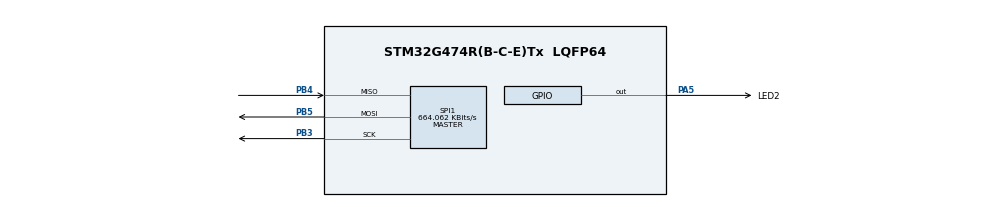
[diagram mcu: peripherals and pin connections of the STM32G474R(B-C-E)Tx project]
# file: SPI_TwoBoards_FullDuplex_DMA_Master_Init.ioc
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Dma.Request0=SPI1_TX
Dma.Request1=SPI1_RX
Dma.SPI1_RX.1.Direction=DMA_PERIPH_TO_MEMORY
Dma.SPI1_RX.1.EventEnable=DISABLE
Dma.SPI1_RX.1.Instance=DMA1_Channel1
Dma.SPI1_RX.1.MemDataAlignment=DMA_MDATAALIGN_BYTE
Dma.SPI1_RX.1.MemInc=DMA_MINC_ENABLE
Dma.SPI1_RX.1.Mode=DMA_NORMAL
Dma.SPI1_RX.1.PeriphDataAlignment=DMA_PDATAALIGN_BYTE
Dma.SPI1_RX.1.PeriphInc=DMA_PINC_DISABLE
Dma.SPI1_RX.1.Polarity=HAL_DMAMUX_REQ_GEN_RISING
Dma.SPI1_RX.1.Priority=DMA_PRIORITY_LOW
Dma.SPI1_RX.1.RequestNumber=1
Dma.SPI1_RX.1.SignalID=HAL_DMAMUX1_REQ_GEN_EXTI4
Dma.SPI1_RX.1.SyncEnable=DISABLE
Dma.SPI1_RX.1.SyncPolarity=HAL_DMAMUX_SYNC_NO_EVENT
Dma.SPI1_RX.1.SyncRequestNumber=1
Dma.SPI1_RX.1.SyncSignalID=HAL_DMAMUX1_SYNC_EXTI4
Dma.SPI1_TX.0.Direction=DMA_MEMORY_TO_PERIPH
Dma.SPI1_TX.0.EventEnable=DISABLE
Dma.SPI1_TX.0.Instance=DMA1_Channel3
Dma.SPI1_TX.0.MemDataAlignment=DMA_MDATAALIGN_BYTE
Dma.SPI1_TX.0.MemInc=DMA_MINC_ENABLE
Dma.SPI1_TX.0.Mode=DMA_NORMAL
Dma.SPI1_TX.0.PeriphDataAlignment=DMA_PDATAALIGN_BYTE
Dma.SPI1_TX.0.PeriphInc=DMA_PINC_DISABLE
Dma.SPI1_TX.0.Polarity=HAL_DMAMUX_REQ_GEN_RISING
Dma.SPI1_TX.0.Priority=DMA_PRIORITY_LOW
Dma.SPI1_TX.0.RequestNumber=1
Dma.SPI1_TX.0.SignalID=HAL_DMAMUX1_REQ_GEN_EXTI4
Dma.SPI1_TX.0.SyncEnable=DISABLE
Dma.SPI1_TX.0.SyncPolarity=HAL_DMAMUX_SYNC_NO_EVENT
Dma.SPI1_TX.0.SyncRequestNumber=1
Dma.SPI1_TX.0.SyncSignalID=HAL_DMAMUX1_SYNC_EXTI4
Mcu.Family=STM32G4
Mcu.Name=STM32G474R(B-C-E)Tx
Mcu.Package=LQFP64
NVIC.DMA1_Channel1_IRQn=true\:0\:0\:false\:false\:false\:false\:true\:true
NVIC.DMA1_Channel3_IRQn=true\:0\:0\:false\:false\:false\:false\:true\:true
NVIC.PriorityGroup=NVIC_PRIORITYGROUP_4
PA5.GPIO_Label=LED2
PA5.Signal=GPIO_Output
PB3.GPIO_PuPd=GPIO_PULLDOWN
PB3.GPIO_Speed=GPIO_SPEED_FREQ_HIGH
PB3.Mode=Full_Duplex_Master
PB3.Signal=SPI1_SCK
PB4.GPIO_Speed=GPIO_SPEED_FREQ_LOW
PB4.Mode=Full_Duplex_Master
PB4.Signal=SPI1_MISO
PB5.GPIO_PuPd=GPIO_PULLDOWN
PB5.GPIO_Speed=GPIO_SPEED_FREQ_HIGH
PB5.Mode=Full_Duplex_Master
PB5.Signal=SPI1_MOSI
ProjectManager.HeapSize=0x200
ProjectManager.StackSize=0x400
ProjectManager.TargetToolchain=EWARM V8.32
RCC.ADC12Freq_Value=170000000
RCC.ADC345Freq_Value=170000000
RCC.AHBFreq_Value=170000000
RCC.APB1Freq_Value=170000000
RCC.APB1TimFreq_Value=170000000
RCC.APB2Freq_Value=170000000
RCC.APB2TimFreq_Value=170000000
RCC.CortexFreq_Value=170000000
RCC.EXTERNAL_CLOCK_VALUE=12288000
RCC.HCLKFreq_Value=170000000
RCC.HSE_VALUE=24000000
RCC.HSI48_VALUE=48000000
RCC.HSI_VALUE=16000000
RCC.LSE_VALUE=32768
RCC.PLLM=RCC_PLLM_DIV4
RCC.PLLN=85
RCC.SYSCLKFreq_VALUE=170000000
RCC.SYSCLKSource=RCC_SYSCLKSOURCE_PLLCLK
RCC.USBFreq_Value=170000000
RCC.VCOOutputFreq_Value=340000000
SPI1.BaudRatePrescaler=SPI_BAUDRATEPRESCALER_256
SPI1.CLKPhase=SPI_PHASE_2EDGE
SPI1.CLKPolarity=SPI_POLARITY_HIGH
SPI1.CRCCalculation=SPI_CRCCALCULATION_DISABLE
SPI1.CalculateBaudRate=664.062 KBits/s
SPI1.DataSize=SPI_DATASIZE_8BIT
SPI1.Direction=SPI_DIRECTION_2LINES
SPI1.FirstBit=SPI_FIRSTBIT_MSB
SPI1.Mode=SPI_MODE_MASTER
SPI1.NSS=SPI_NSS_SOFT
SPI1.TIMode=SPI_TIMODE_DISABLE
SPI1.VirtualType=VM_MASTER
VP_SYS_VS_DBSignals.Mode=DisableDeadBatterySignals
board=custom

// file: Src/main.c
/* USER CODE BEGIN Header */
/**
  ******************************************************************************
  * @file    Examples_LL/SPI/SPI_TwoBoards_FullDuplex_DMA_Master_Init/Src/main.c
  * @author  MCD Application Team
  * @brief   This example describes how to send/receive bytes over SPI IP using
  *          the STM32G4xx SPI LL API.
  *          Peripheral initialization done using LL unitary services functions.
  ******************************************************************************
  * @attention
  *
  * Copyright (c) 2019 STMicroelectronics.
  * All rights reserved.
  *
  * This software is licensed under terms that can be found in the LICENSE file
  * in the root directory of this software component.
  * If no LICENSE file comes with this software, it is provided AS-IS.
  *
  ******************************************************************************
  */
/* USER CODE END Header */
#include "main.h"

/* USER CODE BEGIN PV */

__IO uint8_t ubButtonPress = 0;

/* Buffer used for transmission */
uint8_t aTxBuffer[] = "**** SPI_TwoBoards_FullDuplex_DMA communication **** SPI_TwoBoards_FullDuplex_DMA communication **** SPI_TwoBoards_FullDuplex_DMA communication ****";
uint8_t ubNbDataToTransmit = sizeof(aTxBuffer);
__IO uint8_t ubTransmissionComplete = 0;

/* Buffer used for reception */
uint8_t aRxBuffer[sizeof(aTxBuffer)];
uint8_t ubNbDataToReceive  = sizeof(aTxBuffer);
__IO uint8_t ubReceptionComplete = 0;

/* USER CODE END PV */

void SystemClock_Config(void);
static void MX_GPIO_Init(void);
static void MX_DMA_Init(void);
static void MX_SPI1_Init(void);
/* USER CODE BEGIN PFP */

void     SystemClock_Config(void);
void     Activate_SPI(void);
void     LED_On(void);
void     LED_Blinking(uint32_t Period);
void     LED_Off(void);
void     UserButton_Init(void);
void     WaitForUserButtonPress(void);
void     WaitAndCheckEndOfTransfer(void);
uint8_t  Buffercmp8(uint8_t *pBuffer1, uint8_t *pBuffer2, uint8_t BufferLength);

/* USER CODE END PFP */

int main(void)
{

  /* MCU Configuration--------------------------------------------------------*/

  /* Reset of all peripherals, Initializes the Flash interface and the Systick. */

  LL_APB2_GRP1_EnableClock(LL_APB2_GRP1_PERIPH_SYSCFG);
  LL_APB1_GRP1_EnableClock(LL_APB1_GRP1_PERIPH_PWR);

  NVIC_SetPriorityGrouping(NVIC_PRIORITYGROUP_4);

  /* System interrupt init*/

  /** Disable the internal Pull-Up in Dead Battery pins of UCPD peripheral
  */
  LL_PWR_DisableUCPDDeadBattery();

  /* Configure the system clock */
  SystemClock_Config();

  /* Initialize all configured peripherals */
  MX_GPIO_Init();
  MX_DMA_Init();
  MX_SPI1_Init();
  /* USER CODE BEGIN 2 */
  UserButton_Init();
  /* Configure the DMA1_Channel3 functional parameters */
  LL_DMA_ConfigTransfer(DMA1,
                        LL_DMA_CHANNEL_3,
                        LL_DMA_DIRECTION_MEMORY_TO_PERIPH | LL_DMA_PRIORITY_HIGH | LL_DMA_MODE_NORMAL |
                        LL_DMA_PERIPH_NOINCREMENT | LL_DMA_MEMORY_INCREMENT |
                        LL_DMA_PDATAALIGN_BYTE | LL_DMA_MDATAALIGN_BYTE);
  LL_DMA_ConfigAddresses(DMA1,
                         LL_DMA_CHANNEL_3,
                         (uint32_t)aTxBuffer, LL_SPI_DMA_GetRegAddr(SPI1),
                         LL_DMA_GetDataTransferDirection(DMA1, LL_DMA_CHANNEL_3));
  LL_DMA_SetDataLength(DMA1, LL_DMA_CHANNEL_3, ubNbDataToTransmit);

  LL_DMA_SetPeriphRequest(DMA1, LL_DMA_CHANNEL_3, LL_DMAMUX_REQ_SPI1_TX);

  /* Configure the DMA1_Channel1 functional parameters */
  LL_DMA_ConfigTransfer(DMA1,
                        LL_DMA_CHANNEL_1,
                        LL_DMA_DIRECTION_PERIPH_TO_MEMORY | LL_DMA_PRIORITY_HIGH | LL_DMA_MODE_NORMAL |
                        LL_DMA_PERIPH_NOINCREMENT | LL_DMA_MEMORY_INCREMENT |
                        LL_DMA_PDATAALIGN_BYTE | LL_DMA_MDATAALIGN_BYTE);
  LL_DMA_ConfigAddresses(DMA1, LL_DMA_CHANNEL_1, LL_SPI_DMA_GetRegAddr(SPI1), (uint32_t)aRxBuffer,
                         LL_DMA_GetDataTransferDirection(DMA1, LL_DMA_CHANNEL_1));
  LL_DMA_SetDataLength(DMA1, LL_DMA_CHANNEL_1, ubNbDataToReceive);
  LL_DMA_SetPeriphRequest(DMA1, LL_DMA_CHANNEL_1, LL_DMAMUX_REQ_SPI1_RX);

  /* Enable DMA interrupts complete/error */
  LL_DMA_EnableIT_TC(DMA1, LL_DMA_CHANNEL_3);
  LL_DMA_EnableIT_TE(DMA1, LL_DMA_CHANNEL_3);
  LL_DMA_EnableIT_TC(DMA1, LL_DMA_CHANNEL_1);
  LL_DMA_EnableIT_TE(DMA1, LL_DMA_CHANNEL_1);

  /* Initialize FFIFO Threshold */
  LL_SPI_SetRxFIFOThreshold(SPI1, LL_SPI_RX_FIFO_TH_QUARTER);

  /* Configure SPI1 DMA transfer interrupts */
  /* Enable DMA TX Interrupt */
  LL_SPI_EnableDMAReq_TX(SPI1);

  /* Configure SPI1 DMA transfer interrupts */
  /* Enable DMA RX Interrupt */
  LL_SPI_EnableDMAReq_RX(SPI1);

  /* Wait for User push-button press to start transfer */
  WaitForUserButtonPress();

  /* Enable the SPI1 peripheral */
  Activate_SPI();

  /* Wait for the end of the transfer and check received data */
  /* LED blinking FAST during waiting time */
  WaitAndCheckEndOfTransfer();
  /* USER CODE END 2 */

  /* Infinite loop */
  while (1)
  {

  }
}

void SystemClock_Config(void)
{
  LL_FLASH_SetLatency(LL_FLASH_LATENCY_4);
  while(LL_FLASH_GetLatency() != LL_FLASH_LATENCY_4)
  {
  }
  LL_PWR_EnableRange1BoostMode();
  LL_RCC_HSI_Enable();
   /* Wait till HSI is ready */
  while(LL_RCC_HSI_IsReady() != 1)
  {
  }

  LL_RCC_HSI_SetCalibTrimming(64);
  LL_RCC_PLL_ConfigDomain_SYS(LL_RCC_PLLSOURCE_HSI, LL_RCC_PLLM_DIV_4, 85, LL_RCC_PLLR_DIV_2);
  LL_RCC_PLL_EnableDomain_SYS();
  LL_RCC_PLL_Enable();
   /* Wait till PLL is ready */
  while(LL_RCC_PLL_IsReady() != 1)
  {
  }

  LL_RCC_SetSysClkSource(LL_RCC_SYS_CLKSOURCE_PLL);
  LL_RCC_SetAHBPrescaler(LL_RCC_SYSCLK_DIV_2);
   /* Wait till System clock is ready */
  while(LL_RCC_GetSysClkSource() != LL_RCC_SYS_CLKSOURCE_STATUS_PLL)
  {
  }

  /* Insure 1µs transition state at intermediate medium speed clock based on DWT */
  CoreDebug->DEMCR |= CoreDebug_DEMCR_TRCENA_Msk;
  DWT->CTRL |= DWT_CTRL_CYCCNTENA_Msk;
  DWT->CYCCNT = 0;
  while(DWT->CYCCNT < 100);
  /* Set AHB prescaler*/
  LL_RCC_SetAHBPrescaler(LL_RCC_SYSCLK_DIV_1);
  LL_RCC_SetAPB1Prescaler(LL_RCC_APB1_DIV_1);
  LL_RCC_SetAPB2Prescaler(LL_RCC_APB2_DIV_1);

  LL_Init1msTick(170000000);

  LL_SetSystemCoreClock(170000000);
}

static void MX_SPI1_Init(void)
{

  LL_SPI_InitTypeDef SPI_InitStruct = {0};

  LL_GPIO_InitTypeDef GPIO_InitStruct = {0};

  /* Peripheral clock enable */
  LL_APB2_GRP1_EnableClock(LL_APB2_GRP1_PERIPH_SPI1);

  LL_AHB2_GRP1_EnableClock(LL_AHB2_GRP1_PERIPH_GPIOB);
  /**SPI1 GPIO Configuration
  PB3   ------> SPI1_SCK
  PB4   ------> SPI1_MISO
  PB5   ------> SPI1_MOSI
  */
  GPIO_InitStruct.Pin = LL_GPIO_PIN_3;
  GPIO_InitStruct.Mode = LL_GPIO_MODE_ALTERNATE;
  GPIO_InitStruct.Speed = LL_GPIO_SPEED_FREQ_HIGH;
  GPIO_InitStruct.OutputType = LL_GPIO_OUTPUT_PUSHPULL;
  GPIO_InitStruct.Pull = LL_GPIO_PULL_DOWN;
  GPIO_InitStruct.Alternate = LL_GPIO_AF_5;
  LL_GPIO_Init(GPIOB, &GPIO_InitStruct);

  GPIO_InitStruct.Pin = LL_GPIO_PIN_4;
  GPIO_InitStruct.Mode = LL_GPIO_MODE_ALTERNATE;
  GPIO_InitStruct.Speed = LL_GPIO_SPEED_FREQ_LOW;
  GPIO_InitStruct.OutputType = LL_GPIO_OUTPUT_PUSHPULL;
  GPIO_InitStruct.Pull = LL_GPIO_PULL_NO;
  GPIO_InitStruct.Alternate = LL_GPIO_AF_5;
  LL_GPIO_Init(GPIOB, &GPIO_InitStruct);

  GPIO_InitStruct.Pin = LL_GPIO_PIN_5;
  GPIO_InitStruct.Mode = LL_GPIO_MODE_ALTERNATE;
  GPIO_InitStruct.Speed = LL_GPIO_SPEED_FREQ_HIGH;
  GPIO_InitStruct.OutputType = LL_GPIO_OUTPUT_PUSHPULL;
  GPIO_InitStruct.Pull = LL_GPIO_PULL_DOWN;
  GPIO_InitStruct.Alternate = LL_GPIO_AF_5;
  LL_GPIO_Init(GPIOB, &GPIO_InitStruct);

  /* SPI1 DMA Init */

  /* SPI1_TX Init */
  LL_DMA_SetPeriphRequest(DMA1, LL_DMA_CHANNEL_3, LL_DMAMUX_REQ_SPI1_TX);

  LL_DMA_SetDataTransferDirection(DMA1, LL_DMA_CHANNEL_3, LL_DMA_DIRECTION_MEMORY_TO_PERIPH);

  LL_DMA_SetChannelPriorityLevel(DMA1, LL_DMA_CHANNEL_3, LL_DMA_PRIORITY_LOW);

  LL_DMA_SetMode(DMA1, LL_DMA_CHANNEL_3, LL_DMA_MODE_NORMAL);

  LL_DMA_SetPeriphIncMode(DMA1, LL_DMA_CHANNEL_3, LL_DMA_PERIPH_NOINCREMENT);

  LL_DMA_SetMemoryIncMode(DMA1, LL_DMA_CHANNEL_3, LL_DMA_MEMORY_INCREMENT);

  LL_DMA_SetPeriphSize(DMA1, LL_DMA_CHANNEL_3, LL_DMA_PDATAALIGN_BYTE);

  LL_DMA_SetMemorySize(DMA1, LL_DMA_CHANNEL_3, LL_DMA_MDATAALIGN_BYTE);

  /* SPI1_RX Init */
  LL_DMA_SetPeriphRequest(DMA1, LL_DMA_CHANNEL_1, LL_DMAMUX_REQ_SPI1_RX);

  LL_DMA_SetDataTransferDirection(DMA1, LL_DMA_CHANNEL_1, LL_DMA_DIRECTION_PERIPH_TO_MEMORY);

  LL_DMA_SetChannelPriorityLevel(DMA1, LL_DMA_CHANNEL_1, LL_DMA_PRIORITY_LOW);

  LL_DMA_SetMode(DMA1, LL_DMA_CHANNEL_1, LL_DMA_MODE_NORMAL);

  LL_DMA_SetPeriphIncMode(DMA1, LL_DMA_CHANNEL_1, LL_DMA_PERIPH_NOINCREMENT);

  LL_DMA_SetMemoryIncMode(DMA1, LL_DMA_CHANNEL_1, LL_DMA_MEMORY_INCREMENT);

  LL_DMA_SetPeriphSize(DMA1, LL_DMA_CHANNEL_1, LL_DMA_PDATAALIGN_BYTE);

  LL_DMA_SetMemorySize(DMA1, LL_DMA_CHANNEL_1, LL_DMA_MDATAALIGN_BYTE);

  /* SPI1 parameter configuration*/
  SPI_InitStruct.TransferDirection = LL_SPI_FULL_DUPLEX;
  SPI_InitStruct.Mode = LL_SPI_MODE_MASTER;
  SPI_InitStruct.DataWidth = LL_SPI_DATAWIDTH_8BIT;
  SPI_InitStruct.ClockPolarity = LL_SPI_POLARITY_HIGH;
  SPI_InitStruct.ClockPhase = LL_SPI_PHASE_2EDGE;
  SPI_InitStruct.NSS = LL_SPI_NSS_SOFT;
  SPI_InitStruct.BaudRate = LL_SPI_BAUDRATEPRESCALER_DIV256;
  SPI_InitStruct.BitOrder = LL_SPI_MSB_FIRST;
  SPI_InitStruct.CRCCalculation = LL_SPI_CRCCALCULATION_DISABLE;
  SPI_InitStruct.CRCPoly = 7;
  LL_SPI_Init(SPI1, &SPI_InitStruct);
  LL_SPI_SetStandard(SPI1, LL_SPI_PROTOCOL_MOTOROLA);
  LL_SPI_DisableNSSPulseMgt(SPI1);

}

static void MX_DMA_Init(void)
{

  /* Init with LL driver */
  /* DMA controller clock enable */
  LL_AHB1_GRP1_EnableClock(LL_AHB1_GRP1_PERIPH_DMAMUX1);
  LL_AHB1_GRP1_EnableClock(LL_AHB1_GRP1_PERIPH_DMA1);

  /* DMA interrupt init */
  /* DMA1_Channel1_IRQn interrupt configuration */
  NVIC_SetPriority(DMA1_Channel1_IRQn, NVIC_EncodePriority(NVIC_GetPriorityGrouping(),0, 0));
  NVIC_EnableIRQ(DMA1_Channel1_IRQn);
  /* DMA1_Channel3_IRQn interrupt configuration */
  NVIC_SetPriority(DMA1_Channel3_IRQn, NVIC_EncodePriority(NVIC_GetPriorityGrouping(),0, 0));
  NVIC_EnableIRQ(DMA1_Channel3_IRQn);

}

static void MX_GPIO_Init(void)
{
  LL_GPIO_InitTypeDef GPIO_InitStruct = {0};

  /* GPIO Ports Clock Enable */
  LL_AHB2_GRP1_EnableClock(LL_AHB2_GRP1_PERIPH_GPIOA);
  LL_AHB2_GRP1_EnableClock(LL_AHB2_GRP1_PERIPH_GPIOB);

  /**/
  LL_GPIO_ResetOutputPin(LED2_GPIO_Port, LED2_Pin);

  /**/
  GPIO_InitStruct.Pin = LED2_Pin;
  GPIO_InitStruct.Mode = LL_GPIO_MODE_OUTPUT;
  GPIO_InitStruct.Speed = LL_GPIO_SPEED_FREQ_LOW;
  GPIO_InitStruct.OutputType = LL_GPIO_OUTPUT_PUSHPULL;
  GPIO_InitStruct.Pull = LL_GPIO_PULL_NO;
  LL_GPIO_Init(LED2_GPIO_Port, &GPIO_InitStruct);

}

/* USER CODE BEGIN 4 */

/**
  * @brief  This function Activate SPI1
  * @param  None
  * @retval None
  */
void Activate_SPI(void)
{
  /* Enable SPI1 */
  LL_SPI_Enable(SPI1);

  /* Enable DMA Channels */
  LL_DMA_EnableChannel(DMA1, LL_DMA_CHANNEL_3);
  LL_DMA_EnableChannel(DMA1, LL_DMA_CHANNEL_1);
}

/**
  * @brief  Turn-on LED2.
  * @param  None
  * @retval None
  */
void LED_On(void)
{
  /* Turn LED2 on */
  LL_GPIO_SetOutputPin(LED2_GPIO_PORT, LED2_PIN);
}

/**
  * @brief  Turn-off LED2.
  * @param  None
  * @retval None
  */
void LED_Off(void)
{
  /* Turn LED2 off */
  LL_GPIO_ResetOutputPin(LED2_GPIO_PORT, LED2_PIN);
}

/**
  * @brief  Set LED2 to Blinking mode for an infinite loop (toggle period based on value provided as input parameter).
  * @param  Period : Period of time (in ms) between each toggling of LED
  *   This parameter can be user defined values. Pre-defined values used in that example are :
  *     @arg LED_BLINK_FAST : Fast Blinking
  *     @arg LED_BLINK_SLOW : Slow Blinking
  *     @arg LED_BLINK_ERROR : Error specific Blinking
  * @retval None
  */
void LED_Blinking(uint32_t Period)
{
  /* Toggle LED2 in an infinite loop */
  while (1)
  {
    LL_GPIO_TogglePin(LED2_GPIO_PORT, LED2_PIN);
    LL_mDelay(Period);
  }
}

/**
  * @brief  Configures User push-button in GPIO or EXTI Line Mode.
  * @param  None
  * @retval None
  */
void UserButton_Init(void)
{
  /* Enable the BUTTON Clock */
  USER_BUTTON_GPIO_CLK_ENABLE();

  /* Configure GPIO for BUTTON */
  LL_GPIO_SetPinMode(USER_BUTTON_GPIO_PORT, USER_BUTTON_PIN, LL_GPIO_MODE_INPUT);
  LL_GPIO_SetPinPull(USER_BUTTON_GPIO_PORT, USER_BUTTON_PIN, LL_GPIO_PULL_NO);

  /* Connect External Line to the GPIO*/
  USER_BUTTON_SYSCFG_SET_EXTI();

  /* Enable a rising trigger External line 13 Interrupt */
  USER_BUTTON_EXTI_LINE_ENABLE();
  USER_BUTTON_EXTI_FALLING_TRIG_ENABLE();

  /* Configure NVIC for USER_BUTTON_EXTI_IRQn */
  NVIC_SetPriority(USER_BUTTON_EXTI_IRQn, 3);
  NVIC_EnableIRQ(USER_BUTTON_EXTI_IRQn);
}

/**
  * @brief  Wait for User push-button press to start transfer.
  * @param  None
  * @retval None
  */
/*  */
void WaitForUserButtonPress(void)
{
  while (ubButtonPress == 0)
  {
    LL_GPIO_TogglePin(LED2_GPIO_PORT, LED2_PIN);
    LL_mDelay(LED_BLINK_FAST);
  }
  /* Ensure that LED2 is turned Off */
  LED_Off();
}

/**
  * @brief  Wait end of transfer and check if received Data are well.
  * @param  None
  * @retval None
  */
void WaitAndCheckEndOfTransfer(void)
{
  /* 1 - Wait end of transmission */
  while (ubTransmissionComplete != 1)
  {
  }
  /* Disable DMA1 Tx Channel */
  LL_DMA_DisableChannel(DMA1, LL_DMA_CHANNEL_1);
  /* 2 - Wait end of reception */
  while (ubReceptionComplete != 1)
  {
  }
  /* Disable DMA1 Rx Channel */
  LL_DMA_DisableChannel(DMA1, LL_DMA_CHANNEL_3);
  /* 3 - Compare Transmit data to receive data */
  if (Buffercmp8((uint8_t *)aTxBuffer, (uint8_t *)aRxBuffer, ubNbDataToTransmit))
  {
    /* Processing Error */
    LED_Blinking(LED_BLINK_ERROR);
  }
  else
  {
    /* Turn On Led if data are well received */
    LED_On();
  }
}

/**
* @brief Compares two 8-bit buffers and returns the comparison result.
* @param pBuffer1: pointer to the source buffer to be compared to.
* @param pBuffer2: pointer to the second source buffer to be compared to the first.
* @param BufferLength: buffer's length.
* @retval   0: Comparison is OK (the two Buffers are identical)
*           Value different from 0: Comparison is NOK (Buffers are different)
*/
uint8_t Buffercmp8(uint8_t *pBuffer1, uint8_t *pBuffer2, uint8_t BufferLength)
{
  while (BufferLength--)
  {
    if (*pBuffer1 != *pBuffer2)
    {
      return 1;
    }

    pBuffer1++;
    pBuffer2++;
  }

  return 0;
}

/******************************************************************************/
/*   USER IRQ HANDLER TREATMENT Functions                                     */
/******************************************************************************/
/**
  * @brief  Function to manage User push-button
  * @param  None
  * @retval None
  */
void UserButton_Callback(void)
{
  /* Update User push-button variable : to be checked in waiting loop in main program */
  ubButtonPress = 1;
}

/**
  * @brief  Function called from DMA1 IRQ Handler when Rx transfer is completed
  * @param  None
  * @retval None
  */
void DMA1_ReceiveComplete_Callback(void)
{
  /* DMA Rx transfer completed */
  ubReceptionComplete = 1;
}

/**
  * @brief  Function called from DMA1 IRQ Handler when Tx transfer is completed
  * @param  None
  * @retval None
  */
void DMA1_TransmitComplete_Callback(void)
{
  /* DMA Tx transfer completed */
  ubTransmissionComplete = 1;
}

/**
  * @brief  Function called in case of error detected in SPI IT Handler
  * @param  None
  * @retval None
  */
void SPI1_TransferError_Callback(void)
{
  /* Disable DMA1 Rx Channel */
  LL_DMA_DisableChannel(DMA1, LL_DMA_CHANNEL_3);

  /* Disable DMA1 Tx Channel */
  LL_DMA_DisableChannel(DMA1, LL_DMA_CHANNEL_1);
  /* Set LED2 to Blinking mode to indicate error occurs */
  LED_Blinking(LED_BLINK_ERROR);
}

/* USER CODE END 4 */

void Error_Handler(void)
{
}
